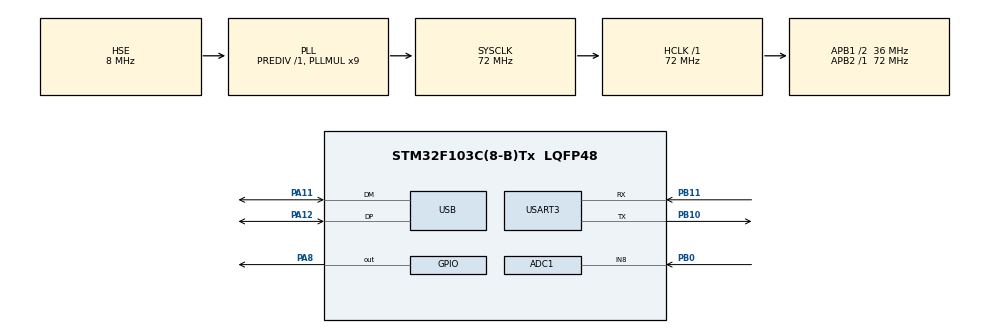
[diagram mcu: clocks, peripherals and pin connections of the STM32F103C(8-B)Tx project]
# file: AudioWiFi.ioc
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ADC1.Channel-0\#ChannelRegularConversion=ADC_CHANNEL_8
ADC1.ExternalTrigConv=ADC_EXTERNALTRIGCONV_T3_TRGO
ADC1.ExternalTrigConvEdgeChoice=RISING
ADC1.NbrOfConversionFlag=1
ADC1.Rank-0\#ChannelRegularConversion=1
ADC1.SamplingTime-0\#ChannelRegularConversion=ADC_SAMPLETIME_1CYCLE_5
ADC1.master=1
Dma.ADC1.0.Direction=DMA_PERIPH_TO_MEMORY
Dma.ADC1.0.Instance=DMA1_Channel1
Dma.ADC1.0.MemDataAlignment=DMA_MDATAALIGN_HALFWORD
Dma.ADC1.0.MemInc=DMA_MINC_ENABLE
Dma.ADC1.0.Mode=DMA_CIRCULAR
Dma.ADC1.0.PeriphDataAlignment=DMA_PDATAALIGN_HALFWORD
Dma.ADC1.0.PeriphInc=DMA_PINC_DISABLE
Dma.ADC1.0.Priority=DMA_PRIORITY_VERY_HIGH
Dma.Request0=ADC1
Dma.Request1=USART3_TX
Dma.USART3_TX.1.Direction=DMA_MEMORY_TO_PERIPH
Dma.USART3_TX.1.Instance=DMA1_Channel2
Dma.USART3_TX.1.MemDataAlignment=DMA_MDATAALIGN_BYTE
Dma.USART3_TX.1.MemInc=DMA_MINC_ENABLE
Dma.USART3_TX.1.Mode=DMA_NORMAL
Dma.USART3_TX.1.PeriphDataAlignment=DMA_PDATAALIGN_BYTE
Dma.USART3_TX.1.PeriphInc=DMA_PINC_DISABLE
Dma.USART3_TX.1.Priority=DMA_PRIORITY_HIGH
Mcu.Family=STM32F1
Mcu.Name=STM32F103C(8-B)Tx
Mcu.Package=LQFP48
NVIC.DMA1_Channel1_IRQn=true\:0\:0\:false\:false\:true
NVIC.DMA1_Channel2_IRQn=true\:0\:0\:false\:false\:true
NVIC.PriorityGroup=NVIC_PRIORITYGROUP_4
NVIC.TIM2_IRQn=true\:0\:0\:false\:false\:true
NVIC.TIM3_IRQn=true\:0\:0\:false\:false\:true
NVIC.USART3_IRQn=true\:0\:0\:false\:false\:true
NVIC.USB_LP_CAN1_RX0_IRQn=true\:0\:0\:false\:false\:true
PA11.Mode=Device
PA11.Signal=USB_DM
PA12.Mode=Device
PA12.Signal=USB_DP
PA13.Mode=Serial_Wire
PA13.Signal=SYS_JTMS-SWDIO
PA14.Mode=Serial_Wire
PA14.Signal=SYS_JTCK-SWCLK
PA8.Signal=GPIO_Output
PB0.Signal=ADCx_IN8
PB10.Mode=Asynchronous
PB10.Signal=USART3_TX
PB11.Mode=Asynchronous
PB11.Signal=USART3_RX
PB3.Signal=SYS_JTDO-TRACESWO
PD0-OSC_IN.Mode=HSE-External-Oscillator
PD0-OSC_IN.Signal=RCC_OSC_IN
PD1-OSC_OUT.Mode=HSE-External-Oscillator
PD1-OSC_OUT.Signal=RCC_OSC_OUT
ProjectManager.HeapSize=0x1600
ProjectManager.StackSize=0x800
ProjectManager.TargetToolchain=EWARM
RCC.ADCPresc=RCC_ADCPCLK2_DIV6
RCC.AHBFreq_Value=72000000
RCC.APB1CLKDivider=RCC_HCLK_DIV2
RCC.APB1Freq_Value=36000000
RCC.APB1TimFreq_Value=72000000
RCC.APB2Freq_Value=72000000
RCC.APB2TimFreq_Value=72000000
RCC.HCLKFreq_Value=72000000
RCC.HSIState=RCC_HSI_ON
RCC.PLLMUL=RCC_PLL_MUL9
RCC.SYSCLKFreq_VALUE=72000000
RCC.SYSCLKSource=RCC_SYSCLKSOURCE_PLLCLK
RCC.USBFreq_Value=48000000
RCC.USBPrescaler=RCC_USBCLKSOURCE_PLL_DIV1_5
SH.ADCx_IN8.0=ADC1_IN8,IN8
TIM2.Period=35999
TIM2.Prescaler=1
TIM3.Period=8999
TIM3.TIM_MasterOutputTrigger=TIM_TRGO_UPDATE
USB_DEVICE.CLASS_NAME_FS=CDC
USB_DEVICE.USBD_HandleTypeDef=hUsbDeviceFS
USB_DEVICE.VirtualMode=Cdc
USB_DEVICE.VirtualModeFS=Cdc_FS
VP_TIM2_VS_ClockSourceINT.Mode=Internal
VP_TIM3_VS_ClockSourceINT.Mode=Internal
VP_USB_DEVICE_VS_USB_DEVICE_CDC_FS.Mode=CDC_FS
board=AudioWiFi

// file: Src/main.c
/**
  ******************************************************************************
  * File Name          : main.c
  * Description        : Main program body
  ******************************************************************************
  *
  * COPYRIGHT(c) 2017 STMicroelectronics
  *
  * Redistribution and use in source and binary forms, with or without modification,
  * are permitted provided that the following conditions are met:
  *   1. Redistributions of source code must retain the above copyright notice,
  *      this list of conditions and the following disclaimer.
  *   2. Redistributions in binary form must reproduce the above copyright notice,
  *      this list of conditions and the following disclaimer in the documentation
  *      and/or other materials provided with the distribution.
  *   3. Neither the name of STMicroelectronics nor the names of its contributors
  *      may be used to endorse or promote products derived from this software
  *      without specific prior written permission.
  *
  * THIS SOFTWARE IS PROVIDED BY THE COPYRIGHT HOLDERS AND CONTRIBUTORS "AS IS"
  * AND ANY EXPRESS OR IMPLIED WARRANTIES, INCLUDING, BUT NOT LIMITED TO, THE
  * IMPLIED WARRANTIES OF MERCHANTABILITY AND FITNESS FOR A PARTICULAR PURPOSE ARE
  * DISCLAIMED. IN NO EVENT SHALL THE COPYRIGHT HOLDER OR CONTRIBUTORS BE LIABLE
  * FOR ANY DIRECT, INDIRECT, INCIDENTAL, SPECIAL, EXEMPLARY, OR CONSEQUENTIAL
  * DAMAGES (INCLUDING, BUT NOT LIMITED TO, PROCUREMENT OF SUBSTITUTE GOODS OR
  * SERVICES; LOSS OF USE, DATA, OR PROFITS; OR BUSINESS INTERRUPTION) HOWEVER
  * CAUSED AND ON ANY THEORY OF LIABILITY, WHETHER IN CONTRACT, STRICT LIABILITY,
  * OR TORT (INCLUDING NEGLIGENCE OR OTHERWISE) ARISING IN ANY WAY OUT OF THE USE
  * OF THIS SOFTWARE, EVEN IF ADVISED OF THE POSSIBILITY OF SUCH DAMAGE.
  *
  ******************************************************************************
  */
#include "stm32f1xx_hal.h"
#include "usb_device.h"

/* USER CODE BEGIN Includes */
#include "public.h"
#include "my/wifi.h"
#include "my/speexx.h"
#include "my/events.h"

/* USER CODE END Includes */

ADC_HandleTypeDef hadc1;
DMA_HandleTypeDef hdma_adc1;

TIM_HandleTypeDef htim2;
TIM_HandleTypeDef htim3;

UART_HandleTypeDef huart3;
DMA_HandleTypeDef hdma_usart3_tx;

/* USER CODE BEGIN PV */
/* Private define ------------------------------------------------------------*/
/* Private variables ---------------------------------------------------------*/
ADC_HandleTypeDef hadc1;
DMA_HandleTypeDef hdma_adc1;

TIM_HandleTypeDef htim3;

UART_HandleTypeDef huart3;
DMA_HandleTypeDef hdma_usart3_tx;
DMA_HandleTypeDef hdma_usart3_rx;
/* USER CODE END PV */

void SystemClock_Config(void);
void Error_Handler(void);
static void MX_GPIO_Init(void);
static void MX_DMA_Init(void);
static void MX_ADC1_Init(void);
static void MX_TIM2_Init(void);
static void MX_TIM3_Init(void);
static void MX_USART3_UART_Init(void);

/* USER CODE BEGIN PFP */
/* Private function prototypes -----------------------------------------------*/

/* USER CODE END PFP */

int main(void)
{

  /* USER CODE BEGIN 1 */
  ClrEvents();
  Speex_Init();
  /* USER CODE END 1 */

  /* MCU Configuration----------------------------------------------------------*/

  /* Reset of all peripherals, Initializes the Flash interface and the Systick. */
  HAL_Init();

  /* Configure the system clock */
  SystemClock_Config();

  /* Initialize all configured peripherals */
  MX_GPIO_Init();
  MX_DMA_Init();
  MX_ADC1_Init();
  MX_TIM2_Init();
  MX_TIM3_Init();
  MX_USART3_UART_Init();
  MX_USB_DEVICE_Init();

  /* USER CODE BEGIN 2 */
  if(HAL_TIM_Base_Start_IT(&htim2) != HAL_OK) Error_Handler();
  if(HAL_TIM_Base_Start_IT(&htim3) != HAL_OK) Error_Handler();
  if(HAL_ADC_Start_DMA(&hadc1,(uint32_t*)&IN_Buffer[0],FRAME_SIZE*2) != HAL_OK) Error_Handler();
  /* USER CODE END 2 */

  /* Infinite loop */
  /* USER CODE BEGIN WHILE */
  Del_UART_ALL_Nextoperate();
  Add_UART_nextoperate_AT(ATE0,true);
  Add_UART_nextoperate_AT(AT_CWJAP,true);

  HAL_Delay(1000);
  Led_off;
  HAL_UART_Receive_IT(&huart3,&UART_RxByte,1);
  SetEvent(EVNT_UART_SEND,EVENT_DONE);
  while (1)
  {
    if (TestEvent_Done(EVNT_UART_SEND)) {
      UART_send();
    }

    if (TestEvent_Done(EVNT_UART_RECEIVE)) {
      UART_parser();
    }

    EncodingVoice();

    if (TestEvent_Done(EVNT_VAD_DETECT)) {
      VAD_detect = false;
    }

    if (TestEvent_Done(EVNT_LED_SIGNAL)) {
        Led_inv;
        if (VAD_detect) SetEvent(EVNT_LED_SIGNAL,200);
          else if (ReadySendData) SetEvent(EVNT_LED_SIGNAL,1000);
                             else SetEvent(EVNT_LED_SIGNAL,3000);
    }

  /* USER CODE END WHILE */

  }

}

/** System Clock Configuration
*/
void SystemClock_Config(void)
{

  RCC_OscInitTypeDef RCC_OscInitStruct;
  RCC_ClkInitTypeDef RCC_ClkInitStruct;
  RCC_PeriphCLKInitTypeDef PeriphClkInit;

  RCC_OscInitStruct.OscillatorType = RCC_OSCILLATORTYPE_HSE;
  RCC_OscInitStruct.HSEState = RCC_HSE_ON;
  RCC_OscInitStruct.HSEPredivValue = RCC_HSE_PREDIV_DIV1;
  RCC_OscInitStruct.PLL.PLLState = RCC_PLL_ON;
  RCC_OscInitStruct.PLL.PLLSource = RCC_PLLSOURCE_HSE;
  RCC_OscInitStruct.PLL.PLLMUL = RCC_PLL_MUL9;
  if (HAL_RCC_OscConfig(&RCC_OscInitStruct) != HAL_OK)
  {
    Error_Handler();
  }

  RCC_ClkInitStruct.ClockType = RCC_CLOCKTYPE_HCLK|RCC_CLOCKTYPE_SYSCLK
                              |RCC_CLOCKTYPE_PCLK1|RCC_CLOCKTYPE_PCLK2;
  RCC_ClkInitStruct.SYSCLKSource = RCC_SYSCLKSOURCE_PLLCLK;
  RCC_ClkInitStruct.AHBCLKDivider = RCC_SYSCLK_DIV1;
  RCC_ClkInitStruct.APB1CLKDivider = RCC_HCLK_DIV2;
  RCC_ClkInitStruct.APB2CLKDivider = RCC_HCLK_DIV1;
  if (HAL_RCC_ClockConfig(&RCC_ClkInitStruct, FLASH_LATENCY_2) != HAL_OK)
  {
    Error_Handler();
  }

  PeriphClkInit.PeriphClockSelection = RCC_PERIPHCLK_ADC|RCC_PERIPHCLK_USB;
  PeriphClkInit.AdcClockSelection = RCC_ADCPCLK2_DIV6;
  PeriphClkInit.UsbClockSelection = RCC_USBCLKSOURCE_PLL_DIV1_5;
  if (HAL_RCCEx_PeriphCLKConfig(&PeriphClkInit) != HAL_OK)
  {
    Error_Handler();
  }

  HAL_SYSTICK_Config(HAL_RCC_GetHCLKFreq()/1000);

  HAL_SYSTICK_CLKSourceConfig(SYSTICK_CLKSOURCE_HCLK);

  /* SysTick_IRQn interrupt configuration */
  HAL_NVIC_SetPriority(SysTick_IRQn, 0, 0);
}

/* ADC1 init function */
static void MX_ADC1_Init(void)
{

  ADC_ChannelConfTypeDef sConfig;

    /**Common config
    */
  hadc1.Instance = ADC1;
  hadc1.Init.ScanConvMode = ADC_SCAN_DISABLE;
  hadc1.Init.ContinuousConvMode = DISABLE;
  hadc1.Init.DiscontinuousConvMode = DISABLE;
  hadc1.Init.ExternalTrigConv = ADC_EXTERNALTRIGCONV_T3_TRGO;
  hadc1.Init.DataAlign = ADC_DATAALIGN_RIGHT;
  hadc1.Init.NbrOfConversion = 1;
  if (HAL_ADC_Init(&hadc1) != HAL_OK)
  {
    Error_Handler();
  }

    /**Configure Regular Channel
    */
  sConfig.Channel = ADC_CHANNEL_8;
  sConfig.Rank = 1;
  sConfig.SamplingTime = ADC_SAMPLETIME_1CYCLE_5;
  if (HAL_ADC_ConfigChannel(&hadc1, &sConfig) != HAL_OK)
  {
    Error_Handler();
  }

}

/* TIM2 init function */
static void MX_TIM2_Init(void)
{

  TIM_ClockConfigTypeDef sClockSourceConfig;
  TIM_MasterConfigTypeDef sMasterConfig;

  htim2.Instance = TIM2;
  htim2.Init.Prescaler = 1;
  htim2.Init.CounterMode = TIM_COUNTERMODE_UP;
  htim2.Init.Period = 35999;
  htim2.Init.ClockDivision = TIM_CLOCKDIVISION_DIV1;
  if (HAL_TIM_Base_Init(&htim2) != HAL_OK)
  {
    Error_Handler();
  }

  sClockSourceConfig.ClockSource = TIM_CLOCKSOURCE_INTERNAL;
  if (HAL_TIM_ConfigClockSource(&htim2, &sClockSourceConfig) != HAL_OK)
  {
    Error_Handler();
  }

  sMasterConfig.MasterOutputTrigger = TIM_TRGO_RESET;
  sMasterConfig.MasterSlaveMode = TIM_MASTERSLAVEMODE_DISABLE;
  if (HAL_TIMEx_MasterConfigSynchronization(&htim2, &sMasterConfig) != HAL_OK)
  {
    Error_Handler();
  }

}

/* TIM3 init function */
static void MX_TIM3_Init(void)
{

  TIM_ClockConfigTypeDef sClockSourceConfig;
  TIM_MasterConfigTypeDef sMasterConfig;

  htim3.Instance = TIM3;
  htim3.Init.Prescaler = 0;
  htim3.Init.CounterMode = TIM_COUNTERMODE_UP;
  htim3.Init.Period = 8999;
  htim3.Init.ClockDivision = TIM_CLOCKDIVISION_DIV1;
  if (HAL_TIM_Base_Init(&htim3) != HAL_OK)
  {
    Error_Handler();
  }

  sClockSourceConfig.ClockSource = TIM_CLOCKSOURCE_INTERNAL;
  if (HAL_TIM_ConfigClockSource(&htim3, &sClockSourceConfig) != HAL_OK)
  {
    Error_Handler();
  }

  sMasterConfig.MasterOutputTrigger = TIM_TRGO_UPDATE;
  sMasterConfig.MasterSlaveMode = TIM_MASTERSLAVEMODE_DISABLE;
  if (HAL_TIMEx_MasterConfigSynchronization(&htim3, &sMasterConfig) != HAL_OK)
  {
    Error_Handler();
  }

}

/* USART3 init function */
static void MX_USART3_UART_Init(void)
{

  huart3.Instance = USART3;
  huart3.Init.BaudRate = 115200;
  huart3.Init.WordLength = UART_WORDLENGTH_8B;
  huart3.Init.StopBits = UART_STOPBITS_1;
  huart3.Init.Parity = UART_PARITY_NONE;
  huart3.Init.Mode = UART_MODE_TX_RX;
  huart3.Init.HwFlowCtl = UART_HWCONTROL_NONE;
  huart3.Init.OverSampling = UART_OVERSAMPLING_16;
  if (HAL_UART_Init(&huart3) != HAL_OK)
  {
    Error_Handler();
  }

}

static void MX_DMA_Init(void)
{
  /* DMA controller clock enable */
  __HAL_RCC_DMA1_CLK_ENABLE();

  /* DMA interrupt init */
  /* DMA1_Channel1_IRQn interrupt configuration */
  HAL_NVIC_SetPriority(DMA1_Channel1_IRQn, 0, 0);
  HAL_NVIC_EnableIRQ(DMA1_Channel1_IRQn);
  /* DMA1_Channel2_IRQn interrupt configuration */
  HAL_NVIC_SetPriority(DMA1_Channel2_IRQn, 0, 0);
  HAL_NVIC_EnableIRQ(DMA1_Channel2_IRQn);

}

/** Configure pins as
        * Analog
        * Input
        * Output
        * EVENT_OUT
        * EXTI
*/
static void MX_GPIO_Init(void)
{

  GPIO_InitTypeDef GPIO_InitStruct;

  /* GPIO Ports Clock Enable */
  __HAL_RCC_GPIOD_CLK_ENABLE();
  __HAL_RCC_GPIOB_CLK_ENABLE();
  __HAL_RCC_GPIOA_CLK_ENABLE();

  /*Configure GPIO pin Output Level */
  HAL_GPIO_WritePin(GPIOA, GPIO_PIN_8, GPIO_PIN_RESET);

  /*Configure GPIO pin : PA8 */
  GPIO_InitStruct.Pin = GPIO_PIN_8;
  GPIO_InitStruct.Mode = GPIO_MODE_OUTPUT_PP;
  GPIO_InitStruct.Speed = GPIO_SPEED_FREQ_LOW;
  HAL_GPIO_Init(GPIOA, &GPIO_InitStruct);

}

void Error_Handler(void)
{
  /* USER CODE BEGIN Error_Handler */
  /* User can add his own implementation to report the HAL error return state */
  Handler_Led_inv();
  /* USER CODE END Error_Handler */
}

/************************ (C) COPYRIGHT STMicroelectronics *****END OF FILE****/
